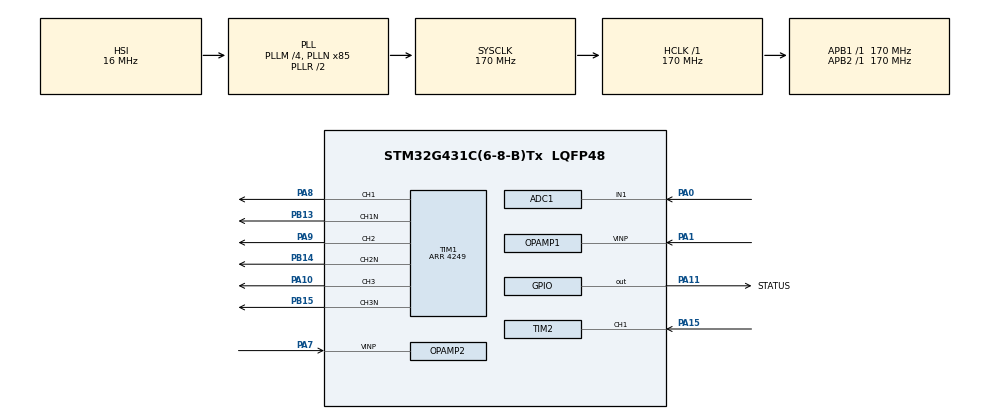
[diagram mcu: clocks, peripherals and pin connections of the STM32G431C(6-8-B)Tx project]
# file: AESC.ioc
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ADC1.Channel-0\#ChannelRegularConversion=ADC_CHANNEL_1
ADC1.ContinuousConvMode=DISABLE
ADC1.EnableInjectedConversion=ENABLE
ADC1.ExternalTrigInjecConv=ADC_EXTERNALTRIGINJEC_T1_CC4
ADC1.InjNumberOfConversion=1
ADC1.InjectedChannel-1\#ChannelInjectedConversion=ADC_CHANNEL_VOPAMP1
ADC1.InjectedOffsetNumber-1\#ChannelInjectedConversion=ADC_OFFSET_NONE
ADC1.InjectedRank-1\#ChannelInjectedConversion=1
ADC1.InjectedSamplingTime-1\#ChannelInjectedConversion=ADC_SAMPLETIME_6CYCLES_5
ADC1.NbrOfConversion=1
ADC1.NbrOfConversionFlag=1
ADC1.OffsetNumber-0\#ChannelRegularConversion=ADC_OFFSET_NONE
ADC1.Rank-0\#ChannelRegularConversion=1
ADC1.SamplingTime-0\#ChannelRegularConversion=ADC_SAMPLETIME_92CYCLES_5
ADC1.master=1
ADC2.EnableInjectedConversion=ENABLE
ADC2.EnableRegularConversion=DISABLE
ADC2.ExternalTrigInjecConv=ADC_EXTERNALTRIGINJEC_T1_CC4
ADC2.InjNumberOfConversion=1
ADC2.InjectedChannel-3\#ChannelInjectedConversion=ADC_CHANNEL_VOPAMP2
ADC2.InjectedOffsetNumber-3\#ChannelInjectedConversion=ADC_OFFSET_NONE
ADC2.InjectedRank-3\#ChannelInjectedConversion=1
ADC2.InjectedSamplingTime-3\#ChannelInjectedConversion=ADC_SAMPLETIME_6CYCLES_5
ADC2.Rank1_Channel=ADC_CHANNEL_VOPAMP2
Mcu.Family=STM32G4
Mcu.Name=STM32G431C(6-8-B)Tx
Mcu.Package=LQFP48
NVIC.ADC1_2_IRQn=true\:0\:0\:false\:false\:true\:true\:true\:true
NVIC.PriorityGroup=NVIC_PRIORITYGROUP_4
NVIC.TIM1_BRK_TIM15_IRQn=true\:1\:0\:true\:false\:true\:true\:true\:true
NVIC.TIM2_IRQn=true\:3\:0\:true\:false\:true\:true\:true\:true
NVIC.TIM7_IRQn=true\:15\:0\:false\:false\:true\:false\:true\:true
NVIC.TimeBase=TIM7_IRQn
NVIC.TimeBaseIP=TIM7
OPAMP1.PgaGain=OPAMP_PGA_GAIN_4_OR_MINUS_3
OPAMP1.PowerMode=OPAMP_POWERMODE_HIGHSPEED
OPAMP2.PgaGain=OPAMP_PGA_GAIN_4_OR_MINUS_3
OPAMP2.PowerMode=OPAMP_POWERMODE_HIGHSPEED
PA0.Mode=IN1-Single-Ended
PA0.Signal=ADC1_IN1
PA1.Mode=PGA_Internally_Connected
PA1.Signal=OPAMP1_VINP
PA10.GPIO_Speed=GPIO_SPEED_FREQ_VERY_HIGH
PA10.Signal=S_TIM1_CH3
PA11.GPIO_Label=STATUS
PA11.GPIO_Speed=GPIO_SPEED_FREQ_MEDIUM
PA11.Signal=GPIO_Output
PA13.Mode=Serial_Wire
PA13.Signal=SYS_JTMS-SWDIO
PA14.Mode=Serial_Wire
PA14.Signal=SYS_JTCK-SWCLK
PA15.GPIO_Speed=GPIO_SPEED_FREQ_VERY_HIGH
PA15.Signal=S_TIM2_CH1
PA7.Mode=PGA_Internally_Connected
PA7.Signal=OPAMP2_VINP
PA8.GPIO_Speed=GPIO_SPEED_FREQ_VERY_HIGH
PA8.Signal=S_TIM1_CH1
PA9.GPIO_Speed=GPIO_SPEED_FREQ_VERY_HIGH
PA9.Signal=S_TIM1_CH2
PB13.GPIO_Speed=GPIO_SPEED_FREQ_VERY_HIGH
PB13.Mode=PWM Generation1 CH1 CH1N
PB13.Signal=TIM1_CH1N
PB14.GPIO_Speed=GPIO_SPEED_FREQ_VERY_HIGH
PB14.Mode=PWM Generation2 CH2 CH2N
PB14.Signal=TIM1_CH2N
PB15.GPIO_Speed=GPIO_SPEED_FREQ_VERY_HIGH
PB15.Mode=PWM Generation3 CH3 CH3N
PB15.Signal=TIM1_CH3N
ProjectManager.HeapSize=0x200
ProjectManager.StackSize=0x400
ProjectManager.TargetToolchain=STM32CubeIDE
RCC.ADC12Freq_Value=170000000
RCC.AHBFreq_Value=170000000
RCC.APB1Freq_Value=170000000
RCC.APB1TimFreq_Value=170000000
RCC.APB2Freq_Value=170000000
RCC.APB2TimFreq_Value=170000000
RCC.CortexFreq_Value=170000000
RCC.EXTERNAL_CLOCK_VALUE=12288000
RCC.HCLKFreq_Value=170000000
RCC.HSE_VALUE=8000000
RCC.HSI48_VALUE=48000000
RCC.HSI_VALUE=16000000
RCC.LSE_VALUE=32768
RCC.PLLM=RCC_PLLM_DIV4
RCC.PLLN=85
RCC.SYSCLKFreq_VALUE=170000000
RCC.SYSCLKSource=RCC_SYSCLKSOURCE_PLLCLK
RCC.USBFreq_Value=170000000
RCC.VCOOutputFreq_Value=340000000
SH.S_TIM1_CH1.0=TIM1_CH1,PWM Generation1 CH1 CH1N
SH.S_TIM1_CH2.0=TIM1_CH2,PWM Generation2 CH2 CH2N
SH.S_TIM1_CH3.0=TIM1_CH3,PWM Generation3 CH3 CH3N
SH.S_TIM2_CH1.0=TIM2_CH1,PWM_Input_1
TIM1.AutoReloadPreload=TIM_AUTORELOAD_PRELOAD_ENABLE
TIM1.AutomaticOutput=TIM_AUTOMATICOUTPUT_DISABLE
TIM1.Break2State=TIM_BREAK2_DISABLE
TIM1.BreakState=TIM_BREAK_ENABLE
TIM1.Channel-PWM\ Generation1\ CH1\ CH1N=TIM_CHANNEL_1
TIM1.Channel-PWM\ Generation2\ CH2\ CH2N=TIM_CHANNEL_2
TIM1.Channel-PWM\ Generation3\ CH3\ CH3N=TIM_CHANNEL_3
TIM1.Channel-PWM\ Generation4\ No\ Output=TIM_CHANNEL_4
TIM1.CounterMode=TIM_COUNTERMODE_CENTERALIGNED1
TIM1.DeadTime=50
TIM1.OCFastMode_PWM-PWM\ Generation1\ CH1\ CH1N=TIM_OCFAST_DISABLE
TIM1.OCFastMode_PWM-PWM\ Generation2\ CH2\ CH2N=TIM_OCFAST_DISABLE
TIM1.OCFastMode_PWM-PWM\ Generation3\ CH3\ CH3N=TIM_OCFAST_DISABLE
TIM1.OCFastMode_PWM-PWM\ Generation4\ No\ Output=TIM_OCFAST_DISABLE
TIM1.OCMode_PWM-PWM\ Generation4\ No\ Output=TIM_OCMODE_PWM2
TIM1.OffStateIDLEMode=TIM_OSSI_ENABLE
TIM1.OffStateRunMode=TIM_OSSR_ENABLE
TIM1.PeriodNoDither=4249
TIM1.PulseNoDither_4=4149
TIM1.RepetitionCounter=1
TIM1.TIM_MasterOutputTrigger=TIM_TRGO_UPDATE
TIM2.ICFilter_1=15
TIM2.ICFilter_2=15
TIM2.Prescaler=169
VP_ADC1_OPAMP_INTERNAL1.Mode=IN-OPAMP1
VP_ADC2_OPAMP_INTERNAL2.Mode=IN-OPAMP2
VP_SYS_VS_DBSignals.Mode=DisableDeadBatterySignals
VP_SYS_VS_tim7.Mode=TIM7
VP_TIM1_VS_ClockSourceINT.Mode=Internal
VP_TIM1_VS_no_output4.Mode=PWM Generation4 No Output
VP_TIM2_VS_ClockSourceINT.Mode=Internal
board=custom

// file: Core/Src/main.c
/* USER CODE BEGIN Header */
/**
  ******************************************************************************
  * @file           : main.c
  * @brief          : Main program body
  ******************************************************************************
  * @attention
  *
  * Copyright (c) 2026 STMicroelectronics.
  * All rights reserved.
  *
  * This software is licensed under terms that can be found in the LICENSE file
  * in the root directory of this software component.
  * If no LICENSE file comes with this software, it is provided AS-IS.
  *
  ******************************************************************************
  */
/* USER CODE END Header */
#include "main.h"

/* USER CODE BEGIN Includes */
#include "esc_config.h"
#include "esc_types.h"
#include "hw_pwm.h"
#include "hw_adc.h"
#include "fault.h"
#include "console.h"
#if ESC_FEATURE_THROTTLE
#include "throttle.h"
#endif
#if ESC_FEATURE_BEEP
#include "beep.h"
#endif
#if ESC_FEATURE_MOTOR_STATE
#include "motor_state.h"
#endif
#include <stdbool.h>
/* USER CODE END Includes */

ADC_HandleTypeDef hadc1;
ADC_HandleTypeDef hadc2;

OPAMP_HandleTypeDef hopamp1;
OPAMP_HandleTypeDef hopamp2;

TIM_HandleTypeDef htim1;
TIM_HandleTypeDef htim2;

void SystemClock_Config(void);
static void MX_GPIO_Init(void);
static void MX_ADC1_Init(void);
static void MX_ADC2_Init(void);
static void MX_OPAMP1_Init(void);
static void MX_OPAMP2_Init(void);
static void MX_TIM1_Init(void);
static void MX_TIM2_Init(void);

int main(void)
{

  /* MCU Configuration--------------------------------------------------------*/

  /* Reset of all peripherals, Initializes the Flash interface and the Systick. */
  HAL_Init();

  /* Configure the system clock */
  SystemClock_Config();

  /* Initialize all configured peripherals */
  MX_GPIO_Init();
  MX_ADC1_Init();
  MX_ADC2_Init();
  MX_OPAMP1_Init();
  MX_OPAMP2_Init();
  MX_TIM1_Init();
  MX_TIM2_Init();
  /* USER CODE BEGIN 2 */
#if ESC_FEATURE_THROTTLE
    if (HAL_TIM_IC_Start(&htim2, TIM_CHANNEL_1) != HAL_OK) {
        Error_Handler();
    }
    if (HAL_TIM_IC_Start(&htim2, TIM_CHANNEL_2) != HAL_OK) {
        Error_Handler();
    }
#endif
    /* debug only, remove before motor tests */
    __HAL_DBGMCU_FREEZE_IWDG();
    fault_boot_init();
    hw_pwm_init(&htim1);
    hw_adc_boot_init(&hadc1, &hadc2, &hopamp1, &hopamp2);
    fault_iwdg_refresh();
    hw_adc_start_calibration();
    console_init();
#if ESC_FEATURE_MOTOR_STATE
    motor_state_init();
#endif
  /* USER CODE END 2 */

  /* Infinite loop */
  while (1)
  {

    /* USER CODE BEGIN 3 */
    hw_adc_regular_task();
#if ESC_FEATURE_THROTTLE
    throttle_task(&htim2);
#endif
#if ESC_FEATURE_MOTOR_STATE
    motor_state_task(&htim1);
#endif
#if ESC_FEATURE_BEEP
    beep_task(throttle_is_activity());
#endif
    fault_led_task();
    fault_iwdg_refresh();
    console_task();
  }
  /* USER CODE END 3 */
}

void SystemClock_Config(void)
{
  RCC_OscInitTypeDef RCC_OscInitStruct = {0};
  RCC_ClkInitTypeDef RCC_ClkInitStruct = {0};

  /** Configure the main internal regulator output voltage
  */
  HAL_PWREx_ControlVoltageScaling(PWR_REGULATOR_VOLTAGE_SCALE1_BOOST);

  /** Initializes the RCC Oscillators according to the specified parameters
  * in the RCC_OscInitTypeDef structure.
  */
  RCC_OscInitStruct.OscillatorType = RCC_OSCILLATORTYPE_HSI;
  RCC_OscInitStruct.HSIState = RCC_HSI_ON;
  RCC_OscInitStruct.HSICalibrationValue = RCC_HSICALIBRATION_DEFAULT;
  RCC_OscInitStruct.PLL.PLLState = RCC_PLL_ON;
  RCC_OscInitStruct.PLL.PLLSource = RCC_PLLSOURCE_HSI;
  RCC_OscInitStruct.PLL.PLLM = RCC_PLLM_DIV4;
  RCC_OscInitStruct.PLL.PLLN = 85;
  RCC_OscInitStruct.PLL.PLLP = RCC_PLLP_DIV2;
  RCC_OscInitStruct.PLL.PLLQ = RCC_PLLQ_DIV2;
  RCC_OscInitStruct.PLL.PLLR = RCC_PLLR_DIV2;
  if (HAL_RCC_OscConfig(&RCC_OscInitStruct) != HAL_OK)
  {
    Error_Handler();
  }

  /** Initializes the CPU, AHB and APB buses clocks
  */
  RCC_ClkInitStruct.ClockType = RCC_CLOCKTYPE_HCLK|RCC_CLOCKTYPE_SYSCLK
                              |RCC_CLOCKTYPE_PCLK1|RCC_CLOCKTYPE_PCLK2;
  RCC_ClkInitStruct.SYSCLKSource = RCC_SYSCLKSOURCE_PLLCLK;
  RCC_ClkInitStruct.AHBCLKDivider = RCC_SYSCLK_DIV1;
  RCC_ClkInitStruct.APB1CLKDivider = RCC_HCLK_DIV1;
  RCC_ClkInitStruct.APB2CLKDivider = RCC_HCLK_DIV1;

  if (HAL_RCC_ClockConfig(&RCC_ClkInitStruct, FLASH_LATENCY_4) != HAL_OK)
  {
    Error_Handler();
  }
}

static void MX_ADC1_Init(void)
{

  ADC_MultiModeTypeDef multimode = {0};
  ADC_ChannelConfTypeDef sConfig = {0};
  ADC_InjectionConfTypeDef sConfigInjected = {0};

  /** Common config
  */
  hadc1.Instance = ADC1;
  hadc1.Init.ClockPrescaler = ADC_CLOCK_SYNC_PCLK_DIV4;
  hadc1.Init.Resolution = ADC_RESOLUTION_12B;
  hadc1.Init.DataAlign = ADC_DATAALIGN_RIGHT;
  hadc1.Init.GainCompensation = 0;
  hadc1.Init.ScanConvMode = ADC_SCAN_DISABLE;
  hadc1.Init.EOCSelection = ADC_EOC_SINGLE_CONV;
  hadc1.Init.LowPowerAutoWait = DISABLE;
  hadc1.Init.ContinuousConvMode = DISABLE;
  hadc1.Init.NbrOfConversion = 1;
  hadc1.Init.DiscontinuousConvMode = DISABLE;
  hadc1.Init.ExternalTrigConv = ADC_SOFTWARE_START;
  hadc1.Init.ExternalTrigConvEdge = ADC_EXTERNALTRIGCONVEDGE_NONE;
  hadc1.Init.DMAContinuousRequests = DISABLE;
  hadc1.Init.Overrun = ADC_OVR_DATA_PRESERVED;
  hadc1.Init.OversamplingMode = DISABLE;
  if (HAL_ADC_Init(&hadc1) != HAL_OK)
  {
    Error_Handler();
  }

  /** Configure the ADC multi-mode
  */
  multimode.Mode = ADC_MODE_INDEPENDENT;
  if (HAL_ADCEx_MultiModeConfigChannel(&hadc1, &multimode) != HAL_OK)
  {
    Error_Handler();
  }

  /** Configure Regular Channel
  */
  sConfig.Channel = ADC_CHANNEL_1;
  sConfig.Rank = ADC_REGULAR_RANK_1;
  sConfig.SamplingTime = ADC_SAMPLETIME_92CYCLES_5;
  sConfig.SingleDiff = ADC_SINGLE_ENDED;
  sConfig.OffsetNumber = ADC_OFFSET_NONE;
  sConfig.Offset = 0;
  if (HAL_ADC_ConfigChannel(&hadc1, &sConfig) != HAL_OK)
  {
    Error_Handler();
  }

  /** Configure Injected Channel
  */
  sConfigInjected.InjectedChannel = ADC_CHANNEL_VOPAMP1;
  sConfigInjected.InjectedRank = ADC_INJECTED_RANK_1;
  sConfigInjected.InjectedSamplingTime = ADC_SAMPLETIME_6CYCLES_5;
  sConfigInjected.InjectedSingleDiff = ADC_SINGLE_ENDED;
  sConfigInjected.InjectedOffsetNumber = ADC_OFFSET_NONE;
  sConfigInjected.InjectedOffset = 0;
  sConfigInjected.InjectedNbrOfConversion = 1;
  sConfigInjected.InjectedDiscontinuousConvMode = DISABLE;
  sConfigInjected.AutoInjectedConv = DISABLE;
  sConfigInjected.QueueInjectedContext = DISABLE;
  sConfigInjected.ExternalTrigInjecConv = ADC_EXTERNALTRIGINJEC_T1_CC4;
  sConfigInjected.ExternalTrigInjecConvEdge = ADC_EXTERNALTRIGINJECCONV_EDGE_RISING;
  sConfigInjected.InjecOversamplingMode = DISABLE;
  if (HAL_ADCEx_InjectedConfigChannel(&hadc1, &sConfigInjected) != HAL_OK)
  {
    Error_Handler();
  }

}

static void MX_ADC2_Init(void)
{

  ADC_InjectionConfTypeDef sConfigInjected = {0};

  /** Common config
  */
  hadc2.Instance = ADC2;
  hadc2.Init.ClockPrescaler = ADC_CLOCK_SYNC_PCLK_DIV4;
  hadc2.Init.Resolution = ADC_RESOLUTION_12B;
  hadc2.Init.DataAlign = ADC_DATAALIGN_RIGHT;
  hadc2.Init.GainCompensation = 0;
  hadc2.Init.ScanConvMode = ADC_SCAN_DISABLE;
  hadc2.Init.EOCSelection = ADC_EOC_SINGLE_CONV;
  hadc2.Init.LowPowerAutoWait = DISABLE;
  hadc2.Init.ContinuousConvMode = DISABLE;
  hadc2.Init.NbrOfConversion = 1;
  hadc2.Init.DiscontinuousConvMode = DISABLE;
  hadc2.Init.DMAContinuousRequests = DISABLE;
  hadc2.Init.Overrun = ADC_OVR_DATA_PRESERVED;
  hadc2.Init.OversamplingMode = DISABLE;
  if (HAL_ADC_Init(&hadc2) != HAL_OK)
  {
    Error_Handler();
  }

  /** Configure Injected Channel
  */
  sConfigInjected.InjectedChannel = ADC_CHANNEL_VOPAMP2;
  sConfigInjected.InjectedRank = ADC_INJECTED_RANK_1;
  sConfigInjected.InjectedSamplingTime = ADC_SAMPLETIME_6CYCLES_5;
  sConfigInjected.InjectedSingleDiff = ADC_SINGLE_ENDED;
  sConfigInjected.InjectedOffsetNumber = ADC_OFFSET_NONE;
  sConfigInjected.InjectedOffset = 0;
  sConfigInjected.InjectedNbrOfConversion = 1;
  sConfigInjected.InjectedDiscontinuousConvMode = DISABLE;
  sConfigInjected.AutoInjectedConv = DISABLE;
  sConfigInjected.QueueInjectedContext = DISABLE;
  sConfigInjected.ExternalTrigInjecConv = ADC_EXTERNALTRIGINJEC_T1_CC4;
  sConfigInjected.ExternalTrigInjecConvEdge = ADC_EXTERNALTRIGINJECCONV_EDGE_RISING;
  sConfigInjected.InjecOversamplingMode = DISABLE;
  if (HAL_ADCEx_InjectedConfigChannel(&hadc2, &sConfigInjected) != HAL_OK)
  {
    Error_Handler();
  }

}

static void MX_OPAMP1_Init(void)
{

  hopamp1.Instance = OPAMP1;
  hopamp1.Init.PowerMode = OPAMP_POWERMODE_HIGHSPEED;
  hopamp1.Init.Mode = OPAMP_PGA_MODE;
  hopamp1.Init.NonInvertingInput = OPAMP_NONINVERTINGINPUT_IO0;
  hopamp1.Init.InternalOutput = ENABLE;
  hopamp1.Init.TimerControlledMuxmode = OPAMP_TIMERCONTROLLEDMUXMODE_DISABLE;
  hopamp1.Init.PgaConnect = OPAMP_PGA_CONNECT_INVERTINGINPUT_NO;
  hopamp1.Init.PgaGain = OPAMP_PGA_GAIN_4_OR_MINUS_3;
  hopamp1.Init.UserTrimming = OPAMP_TRIMMING_FACTORY;
  if (HAL_OPAMP_Init(&hopamp1) != HAL_OK)
  {
    Error_Handler();
  }

}

static void MX_OPAMP2_Init(void)
{

  hopamp2.Instance = OPAMP2;
  hopamp2.Init.PowerMode = OPAMP_POWERMODE_HIGHSPEED;
  hopamp2.Init.Mode = OPAMP_PGA_MODE;
  hopamp2.Init.NonInvertingInput = OPAMP_NONINVERTINGINPUT_IO0;
  hopamp2.Init.InternalOutput = ENABLE;
  hopamp2.Init.TimerControlledMuxmode = OPAMP_TIMERCONTROLLEDMUXMODE_DISABLE;
  hopamp2.Init.PgaConnect = OPAMP_PGA_CONNECT_INVERTINGINPUT_NO;
  hopamp2.Init.PgaGain = OPAMP_PGA_GAIN_4_OR_MINUS_3;
  hopamp2.Init.UserTrimming = OPAMP_TRIMMING_FACTORY;
  if (HAL_OPAMP_Init(&hopamp2) != HAL_OK)
  {
    Error_Handler();
  }

}

static void MX_TIM1_Init(void)
{

  TIM_ClockConfigTypeDef sClockSourceConfig = {0};
  TIM_MasterConfigTypeDef sMasterConfig = {0};
  TIM_OC_InitTypeDef sConfigOC = {0};
  TIM_BreakDeadTimeConfigTypeDef sBreakDeadTimeConfig = {0};

  htim1.Instance = TIM1;
  htim1.Init.Prescaler = 0;
  htim1.Init.CounterMode = TIM_COUNTERMODE_CENTERALIGNED1;
  htim1.Init.Period = 4249;
  htim1.Init.ClockDivision = TIM_CLOCKDIVISION_DIV1;
  htim1.Init.RepetitionCounter = 1;
  htim1.Init.AutoReloadPreload = TIM_AUTORELOAD_PRELOAD_ENABLE;
  if (HAL_TIM_Base_Init(&htim1) != HAL_OK)
  {
    Error_Handler();
  }
  sClockSourceConfig.ClockSource = TIM_CLOCKSOURCE_INTERNAL;
  if (HAL_TIM_ConfigClockSource(&htim1, &sClockSourceConfig) != HAL_OK)
  {
    Error_Handler();
  }
  if (HAL_TIM_PWM_Init(&htim1) != HAL_OK)
  {
    Error_Handler();
  }
  sMasterConfig.MasterOutputTrigger = TIM_TRGO_UPDATE;
  sMasterConfig.MasterOutputTrigger2 = TIM_TRGO2_RESET;
  sMasterConfig.MasterSlaveMode = TIM_MASTERSLAVEMODE_DISABLE;
  if (HAL_TIMEx_MasterConfigSynchronization(&htim1, &sMasterConfig) != HAL_OK)
  {
    Error_Handler();
  }
  sConfigOC.OCMode = TIM_OCMODE_PWM1;
  sConfigOC.Pulse = 0;
  sConfigOC.OCPolarity = TIM_OCPOLARITY_HIGH;
  sConfigOC.OCNPolarity = TIM_OCNPOLARITY_HIGH;
  sConfigOC.OCFastMode = TIM_OCFAST_DISABLE;
  sConfigOC.OCIdleState = TIM_OCIDLESTATE_RESET;
  sConfigOC.OCNIdleState = TIM_OCNIDLESTATE_RESET;
  if (HAL_TIM_PWM_ConfigChannel(&htim1, &sConfigOC, TIM_CHANNEL_1) != HAL_OK)
  {
    Error_Handler();
  }
  if (HAL_TIM_PWM_ConfigChannel(&htim1, &sConfigOC, TIM_CHANNEL_2) != HAL_OK)
  {
    Error_Handler();
  }
  if (HAL_TIM_PWM_ConfigChannel(&htim1, &sConfigOC, TIM_CHANNEL_3) != HAL_OK)
  {
    Error_Handler();
  }
  sConfigOC.OCMode = TIM_OCMODE_PWM2;
  sConfigOC.Pulse = 4149;
  if (HAL_TIM_PWM_ConfigChannel(&htim1, &sConfigOC, TIM_CHANNEL_4) != HAL_OK)
  {
    Error_Handler();
  }
  sBreakDeadTimeConfig.OffStateRunMode = TIM_OSSR_ENABLE;
  sBreakDeadTimeConfig.OffStateIDLEMode = TIM_OSSI_ENABLE;
  sBreakDeadTimeConfig.LockLevel = TIM_LOCKLEVEL_OFF;
  sBreakDeadTimeConfig.DeadTime = 50;
  sBreakDeadTimeConfig.BreakState = TIM_BREAK_ENABLE;
  sBreakDeadTimeConfig.BreakPolarity = TIM_BREAKPOLARITY_HIGH;
  sBreakDeadTimeConfig.BreakFilter = 0;
  sBreakDeadTimeConfig.BreakAFMode = TIM_BREAK_AFMODE_INPUT;
  sBreakDeadTimeConfig.Break2State = TIM_BREAK2_DISABLE;
  sBreakDeadTimeConfig.Break2Polarity = TIM_BREAK2POLARITY_HIGH;
  sBreakDeadTimeConfig.Break2Filter = 0;
  sBreakDeadTimeConfig.Break2AFMode = TIM_BREAK_AFMODE_INPUT;
  sBreakDeadTimeConfig.AutomaticOutput = TIM_AUTOMATICOUTPUT_DISABLE;
  if (HAL_TIMEx_ConfigBreakDeadTime(&htim1, &sBreakDeadTimeConfig) != HAL_OK)
  {
    Error_Handler();
  }
  HAL_TIM_MspPostInit(&htim1);

}

static void MX_TIM2_Init(void)
{

  TIM_ClockConfigTypeDef sClockSourceConfig = {0};
  TIM_SlaveConfigTypeDef sSlaveConfig = {0};
  TIM_IC_InitTypeDef sConfigIC = {0};
  TIM_MasterConfigTypeDef sMasterConfig = {0};

  htim2.Instance = TIM2;
  htim2.Init.Prescaler = 169;
  htim2.Init.CounterMode = TIM_COUNTERMODE_UP;
  htim2.Init.Period = 4294967295;
  htim2.Init.ClockDivision = TIM_CLOCKDIVISION_DIV1;
  htim2.Init.AutoReloadPreload = TIM_AUTORELOAD_PRELOAD_DISABLE;
  if (HAL_TIM_Base_Init(&htim2) != HAL_OK)
  {
    Error_Handler();
  }
  sClockSourceConfig.ClockSource = TIM_CLOCKSOURCE_INTERNAL;
  if (HAL_TIM_ConfigClockSource(&htim2, &sClockSourceConfig) != HAL_OK)
  {
    Error_Handler();
  }
  if (HAL_TIM_IC_Init(&htim2) != HAL_OK)
  {
    Error_Handler();
  }
  sSlaveConfig.SlaveMode = TIM_SLAVEMODE_RESET;
  sSlaveConfig.InputTrigger = TIM_TS_TI1FP1;
  sSlaveConfig.TriggerPolarity = TIM_INPUTCHANNELPOLARITY_RISING;
  sSlaveConfig.TriggerPrescaler = TIM_ICPSC_DIV1;
  sSlaveConfig.TriggerFilter = 15;
  if (HAL_TIM_SlaveConfigSynchro(&htim2, &sSlaveConfig) != HAL_OK)
  {
    Error_Handler();
  }
  sConfigIC.ICPolarity = TIM_INPUTCHANNELPOLARITY_RISING;
  sConfigIC.ICSelection = TIM_ICSELECTION_DIRECTTI;
  sConfigIC.ICPrescaler = TIM_ICPSC_DIV1;
  sConfigIC.ICFilter = 15;
  if (HAL_TIM_IC_ConfigChannel(&htim2, &sConfigIC, TIM_CHANNEL_1) != HAL_OK)
  {
    Error_Handler();
  }
  sConfigIC.ICPolarity = TIM_INPUTCHANNELPOLARITY_FALLING;
  sConfigIC.ICSelection = TIM_ICSELECTION_INDIRECTTI;
  if (HAL_TIM_IC_ConfigChannel(&htim2, &sConfigIC, TIM_CHANNEL_2) != HAL_OK)
  {
    Error_Handler();
  }
  sMasterConfig.MasterOutputTrigger = TIM_TRGO_RESET;
  sMasterConfig.MasterSlaveMode = TIM_MASTERSLAVEMODE_DISABLE;
  if (HAL_TIMEx_MasterConfigSynchronization(&htim2, &sMasterConfig) != HAL_OK)
  {
    Error_Handler();
  }

}

static void MX_GPIO_Init(void)
{
  GPIO_InitTypeDef GPIO_InitStruct = {0};

  /* GPIO Ports Clock Enable */
  __HAL_RCC_GPIOA_CLK_ENABLE();
  __HAL_RCC_GPIOB_CLK_ENABLE();

  /*Configure GPIO pin Output Level */
  HAL_GPIO_WritePin(STATUS_GPIO_Port, STATUS_Pin, GPIO_PIN_RESET);

  /*Configure GPIO pin : STATUS_Pin */
  GPIO_InitStruct.Pin = STATUS_Pin;
  GPIO_InitStruct.Mode = GPIO_MODE_OUTPUT_PP;
  GPIO_InitStruct.Pull = GPIO_NOPULL;
  GPIO_InitStruct.Speed = GPIO_SPEED_FREQ_MEDIUM;
  HAL_GPIO_Init(STATUS_GPIO_Port, &GPIO_InitStruct);

}

void HAL_TIM_PeriodElapsedCallback(TIM_HandleTypeDef *htim)
{
  if (htim->Instance == TIM7)
  {
    HAL_IncTick();
  }
}

void Error_Handler(void)
{
  /* USER CODE BEGIN Error_Handler_Debug */
  TIM1->CCR1 = 0U;
  TIM1->CCR2 = 0U;
  TIM1->CCR3 = 0U;
  TIM1->BDTR &= ~TIM_BDTR_MOE;
  __disable_irq();
  while (1)
  {
  }
  /* USER CODE END Error_Handler_Debug */
}
